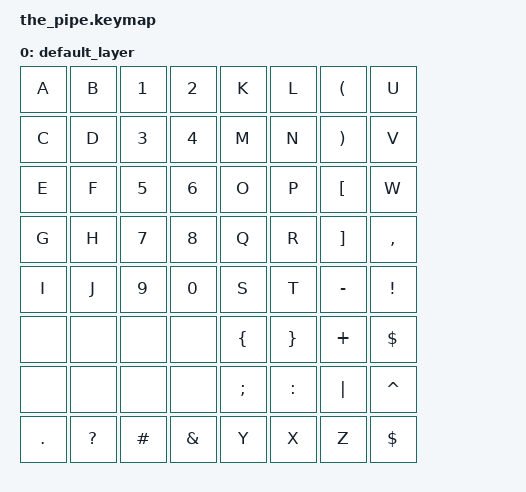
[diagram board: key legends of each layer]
// This file was generated from a template. Edit it to match your keyboard.
// See https://zmk.dev/docs/development/hardware-integration/new-shield for more instructions.

#include <behaviors.dtsi>
#include <dt-bindings/zmk/keys.h>

/ {
    // Define a default keymap here.
    // See https://zmk.dev/docs/development/hardware-integration/new-shield#default-keymap.
    keymap {
        compatible = "zmk,keymap";

    default_layer {
            bindings = <

                &kp A &kp B &kp N1 &kp N2 &kp K &kp L &kp LPAR &kp U
                &kp C &kp D &kp N3 &kp N4 &kp M &kp N &kp RPAR &kp V
                &kp E &kp F &kp N5 &kp N6 &kp O &kp P &kp LBKT &kp W
                &kp G &kp H &kp N7 &kp N8 &kp Q &kp R &kp RBKT &kp COMMA
                &kp I &kp J &kp N9 &kp N0 &kp S &kp T &kp MINUS &kp EXCLAMATION
                &none &none &none &none &kp LBRC &kp RBRC &kp PLUS &kp DLLR
                &none &none &none &none &kp SEMI &kp COLON &kp PIPE &kp CARET
                &kp DOT &kp QMARK &kp HASH &kp AMPS &kp Y &kp X &kp Z &kp DLLR
            >;
        };
    };
};
